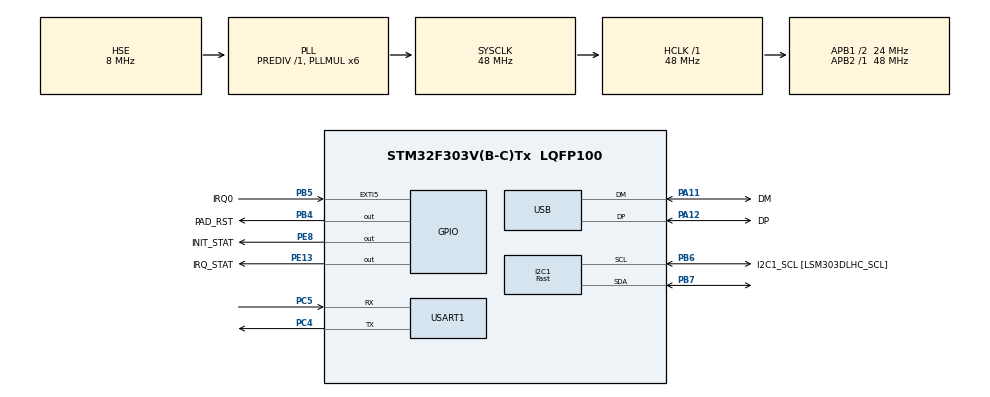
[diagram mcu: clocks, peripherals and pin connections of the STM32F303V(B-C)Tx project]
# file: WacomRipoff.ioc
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I2C1.I2C_Speed_Mode=I2C_Fast
I2C1.OwnAddress=127
I2C1.Timing=0x2010091A
Mcu.Family=STM32F3
Mcu.Name=STM32F303V(B-C)Tx
Mcu.Package=LQFP100
NVIC.EXTI9_5_IRQn=true\:0\:0\:false\:false\:true\:true\:true
NVIC.PriorityGroup=NVIC_PRIORITYGROUP_0
NVIC.USB_LP_CAN_RX0_IRQn=true\:0\:0\:false\:false\:true\:false\:true
PA11.GPIO_Label=DM
PA11.Mode=Device
PA11.Signal=USB_DM
PA12.GPIO_Label=DP
PA12.Mode=Device
PA12.Signal=USB_DP
PA13.GPIO_Label=SWDIO
PA13.Signal=SYS_JTMS-SWDIO
PA14.GPIO_Label=SWCLK
PA14.Signal=SYS_JTCK-SWCLK
PB3.GPIO_Label=SWO
PB3.Signal=SYS_JTDO-TRACESWO
PB4.GPIO_Label=PAD_RST
PB4.PinState=GPIO_PIN_SET
PB4.Signal=GPIO_Output
PB5.GPIO_Label=IRQ0
PB5.GPIO_ModeDefaultEXTI=GPIO_MODE_IT_FALLING
PB5.GPIO_PuPd=GPIO_PULLUP
PB5.Signal=GPXTI5
PB6.GPIO_FM6=__NULL
PB6.GPIO_Label=I2C1_SCL [LSM303DLHC_SCL]
PB6.GPIO_Mode=GPIO_MODE_AF_OD
PB6.GPIO_PuPd=GPIO_NOPULL
PB6.GPIO_Speed=GPIO_SPEED_FREQ_LOW
PB6.Mode=I2C
PB6.Signal=I2C1_SCL
PB7.Mode=I2C
PB7.Signal=I2C1_SDA
PC14-OSC32_IN.GPIO_Label=OSC32_IN
PC14-OSC32_IN.Signal=RCC_OSC32_IN
PC15-OSC32_OUT.GPIO_Label=OSC32_OUT
PC15-OSC32_OUT.Signal=RCC_OSC32_OUT
PC4.Mode=Asynchronous
PC4.Signal=USART1_TX
PC5.Mode=Asynchronous
PC5.Signal=USART1_RX
PE13.GPIO_Label=IRQ_STAT
PE13.GPIO_ModeDefaultOutputPP=GPIO_MODE_OUTPUT_PP
PE13.GPIO_PuPd=GPIO_NOPULL
PE13.GPIO_Speed=GPIO_SPEED_FREQ_LOW
PE13.Signal=GPIO_Output
PE8.GPIO_Label=INIT_STAT
PE8.GPIO_ModeDefaultOutputPP=GPIO_MODE_OUTPUT_PP
PE8.GPIO_PuPd=GPIO_NOPULL
PE8.GPIO_Speed=GPIO_SPEED_FREQ_LOW
PE8.Signal=GPIO_Output
PF0-OSC_IN.GPIO_Label=OSC_IN
PF0-OSC_IN.Mode=HSE-External-Clock-Source
PF0-OSC_IN.Signal=RCC_OSC_IN
PF1-OSC_OUT.GPIO_Label=OSC_OUT
PF1-OSC_OUT.Signal=RCC_OSC_OUT
ProjectManager.HeapSize=0x200
ProjectManager.StackSize=0x400
ProjectManager.TargetToolchain=STM32CubeIDE
RCC.AHBFreq_Value=48000000
RCC.APB1CLKDivider=RCC_HCLK_DIV2
RCC.APB1Freq_Value=24000000
RCC.APB1TimFreq_Value=48000000
RCC.APB2Freq_Value=48000000
RCC.APB2TimFreq_Value=48000000
RCC.CortexFreq_Value=48000000
RCC.HCLKFreq_Value=48000000
RCC.HSE_VALUE=8000000
RCC.HSI_VALUE=8000000
RCC.I2c1ClockSelection=RCC_I2C1CLKSOURCE_SYSCLK
RCC.LSE_VALUE=32768
RCC.PLLMUL=RCC_PLL_MUL6
RCC.SYSCLKFreq_VALUE=48000000
RCC.SYSCLKSourceVirtual=RCC_SYSCLKSOURCE_PLLCLK
RCC.USBFreq_Value=48000000
USART1.VirtualMode-Asynchronous=VM_ASYNC
USB_DEVICE.CLASS_NAME_FS=HID
USB_DEVICE.MANUFACTURER_STRING=TinLethax
USB_DEVICE.PID_HID_FS=26985
USB_DEVICE.PRODUCT_STRING_HID_FS=Wacom Rip off
USB_DEVICE.VID=1155
USB_DEVICE.VirtualMode=Hid
USB_DEVICE.VirtualModeFS=Hid_FS
VP_USB_DEVICE_VS_USB_DEVICE_HID_FS.Mode=HID_FS
board=STM32F3DISCOVERY

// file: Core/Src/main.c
/* USER CODE BEGIN Header */
/**
  ******************************************************************************
  * @file           : main.c
  * @brief          : Main program body
  ******************************************************************************
  * @attention
  *
  * <h2><center>&copy; Copyright (c) 2021 STMicroelectronics.
  * All rights reserved.</center></h2>
  *
  * This software component is licensed by ST under BSD 3-Clause license,
  * the "License"; You may not use this file except in compliance with the
  * License. You may obtain a copy of the License at:
  *                        opensource.org/licenses/BSD-3-Clause
  *
  ******************************************************************************
  */
/* USER CODE END Header */
#include "main.h"
#include "usb_device.h"

/* USER CODE BEGIN Includes */
#include "w9013.h"
#include <stdio.h>
/* USER CODE END Includes */

/* USER CODE BEGIN PTD */
struct wacom_i2c;
extern USBD_HandleTypeDef hUsbDeviceFS;
extern uint8_t USBD_HID_SendReport(USBD_HandleTypeDef *pdev, uint8_t *report, uint16_t len);
/* USER CODE END PTD */

/* USER CODE BEGIN PM */
#ifdef __GNUC__
  /* With GCC/RAISONANCE, small printf (option LD Linker->Libraries->Small printf
     set to 'Yes') calls __io_putchar() */
  #define PUTCHAR_PROTOTYPE int __io_putchar(int ch)
#else
  #define PUTCHAR_PROTOTYPE int fputc(int ch, FILE *f)
#endif /* __GNUC__ */

/* USER CODE END PM */

I2C_HandleTypeDef hi2c1;

UART_HandleTypeDef huart1;

/* USER CODE BEGIN PV */
uint8_t hid_report_null[8]={2,0,0xff,0xff,0xff,0xff,0,0};
/* USER CODE END PV */

void SystemClock_Config(void);
static void MX_GPIO_Init(void);
static void MX_I2C1_Init(void);
static void MX_USART1_UART_Init(void);

/* USER CODE BEGIN 0 */
/**
  * @brief  Retargets the C library printf function to the USART.
  * @param  None
  * @retval None
  */
PUTCHAR_PROTOTYPE
{
  /* Place your implementation of fputc here */
  /* e.g. write a character to the EVAL_COM1 and Loop until the end of transmission */
  HAL_UART_Transmit(&huart1, (uint8_t *)&ch, 1, 0xFFFF);

  return ch;
}
/* USER CODE END 0 */

int main(void)
{

  /* MCU Configuration--------------------------------------------------------*/

  /* Reset of all peripherals, Initializes the Flash interface and the Systick. */
  HAL_Init();

  /* Configure the system clock */
  SystemClock_Config();

  /* Initialize all configured peripherals */
  MX_GPIO_Init();
  MX_I2C1_Init();
  MX_USB_DEVICE_Init();
  MX_USART1_UART_Init();
  /* USER CODE BEGIN 2 */
  // Start chip probing ...
  printf("Start chip probing...\n");
  wacom_i2c_probe(&hi2c1, PAD_RST_GPIO_Port, PAD_RST_Pin, GPIOE, IRQ_STAT_Pin);
  printf("Done, Next reset the chip once\n");
  HAL_GPIO_WritePin(GPIOE, INIT_STAT_Pin, GPIO_PIN_SET);
  /* USER CODE END 2 */

  /* Infinite loop */
  while (1)
  {

    /* USER CODE BEGIN 3 */
	  //Wait for Interrupt
	  __WFI();
	  //USBD_HID_SendReport(&hUsbDeviceFS, hid_report_null, sizeof(hid_report_null));
	  //HAL_Delay(10);

  }
  /* USER CODE END 3 */
}

void SystemClock_Config(void)
{
  RCC_OscInitTypeDef RCC_OscInitStruct = {0};
  RCC_ClkInitTypeDef RCC_ClkInitStruct = {0};
  RCC_PeriphCLKInitTypeDef PeriphClkInit = {0};

  /** Initializes the RCC Oscillators according to the specified parameters
  * in the RCC_OscInitTypeDef structure.
  */
  RCC_OscInitStruct.OscillatorType = RCC_OSCILLATORTYPE_HSE;
  RCC_OscInitStruct.HSEState = RCC_HSE_BYPASS;
  RCC_OscInitStruct.HSEPredivValue = RCC_HSE_PREDIV_DIV1;
  RCC_OscInitStruct.HSIState = RCC_HSI_ON;
  RCC_OscInitStruct.PLL.PLLState = RCC_PLL_ON;
  RCC_OscInitStruct.PLL.PLLSource = RCC_PLLSOURCE_HSE;
  RCC_OscInitStruct.PLL.PLLMUL = RCC_PLL_MUL6;
  if (HAL_RCC_OscConfig(&RCC_OscInitStruct) != HAL_OK)
  {
    Error_Handler();
  }
  /** Initializes the CPU, AHB and APB buses clocks
  */
  RCC_ClkInitStruct.ClockType = RCC_CLOCKTYPE_HCLK|RCC_CLOCKTYPE_SYSCLK
                              |RCC_CLOCKTYPE_PCLK1|RCC_CLOCKTYPE_PCLK2;
  RCC_ClkInitStruct.SYSCLKSource = RCC_SYSCLKSOURCE_PLLCLK;
  RCC_ClkInitStruct.AHBCLKDivider = RCC_SYSCLK_DIV1;
  RCC_ClkInitStruct.APB1CLKDivider = RCC_HCLK_DIV2;
  RCC_ClkInitStruct.APB2CLKDivider = RCC_HCLK_DIV1;

  if (HAL_RCC_ClockConfig(&RCC_ClkInitStruct, FLASH_LATENCY_1) != HAL_OK)
  {
    Error_Handler();
  }
  PeriphClkInit.PeriphClockSelection = RCC_PERIPHCLK_USB|RCC_PERIPHCLK_USART1
                              |RCC_PERIPHCLK_I2C1;
  PeriphClkInit.Usart1ClockSelection = RCC_USART1CLKSOURCE_PCLK2;
  PeriphClkInit.I2c1ClockSelection = RCC_I2C1CLKSOURCE_SYSCLK;
  PeriphClkInit.USBClockSelection = RCC_USBCLKSOURCE_PLL;
  if (HAL_RCCEx_PeriphCLKConfig(&PeriphClkInit) != HAL_OK)
  {
    Error_Handler();
  }
}

static void MX_I2C1_Init(void)
{

  hi2c1.Instance = I2C1;
  hi2c1.Init.Timing = 0x2010091A;
  hi2c1.Init.OwnAddress1 = 254;
  hi2c1.Init.AddressingMode = I2C_ADDRESSINGMODE_7BIT;
  hi2c1.Init.DualAddressMode = I2C_DUALADDRESS_DISABLE;
  hi2c1.Init.OwnAddress2 = 0;
  hi2c1.Init.OwnAddress2Masks = I2C_OA2_NOMASK;
  hi2c1.Init.GeneralCallMode = I2C_GENERALCALL_DISABLE;
  hi2c1.Init.NoStretchMode = I2C_NOSTRETCH_DISABLE;
  if (HAL_I2C_Init(&hi2c1) != HAL_OK)
  {
    Error_Handler();
  }
  /** Configure Analogue filter
  */
  if (HAL_I2CEx_ConfigAnalogFilter(&hi2c1, I2C_ANALOGFILTER_ENABLE) != HAL_OK)
  {
    Error_Handler();
  }
  /** Configure Digital filter
  */
  if (HAL_I2CEx_ConfigDigitalFilter(&hi2c1, 0) != HAL_OK)
  {
    Error_Handler();
  }

}

static void MX_USART1_UART_Init(void)
{

  huart1.Instance = USART1;
  huart1.Init.BaudRate = 38400;
  huart1.Init.WordLength = UART_WORDLENGTH_8B;
  huart1.Init.StopBits = UART_STOPBITS_1;
  huart1.Init.Parity = UART_PARITY_NONE;
  huart1.Init.Mode = UART_MODE_TX_RX;
  huart1.Init.HwFlowCtl = UART_HWCONTROL_NONE;
  huart1.Init.OverSampling = UART_OVERSAMPLING_16;
  huart1.Init.OneBitSampling = UART_ONE_BIT_SAMPLE_DISABLE;
  huart1.AdvancedInit.AdvFeatureInit = UART_ADVFEATURE_NO_INIT;
  if (HAL_UART_Init(&huart1) != HAL_OK)
  {
    Error_Handler();
  }

}

static void MX_GPIO_Init(void)
{
  GPIO_InitTypeDef GPIO_InitStruct = {0};

  /* GPIO Ports Clock Enable */
  __HAL_RCC_GPIOC_CLK_ENABLE();
  __HAL_RCC_GPIOF_CLK_ENABLE();
  __HAL_RCC_GPIOE_CLK_ENABLE();
  __HAL_RCC_GPIOA_CLK_ENABLE();
  __HAL_RCC_GPIOB_CLK_ENABLE();

  /*Configure GPIO pin Output Level */
  HAL_GPIO_WritePin(GPIOE, INIT_STAT_Pin|IRQ_STAT_Pin, GPIO_PIN_RESET);

  /*Configure GPIO pin Output Level */
  HAL_GPIO_WritePin(PAD_RST_GPIO_Port, PAD_RST_Pin, GPIO_PIN_SET);

  /*Configure GPIO pins : INIT_STAT_Pin IRQ_STAT_Pin */
  GPIO_InitStruct.Pin = INIT_STAT_Pin|IRQ_STAT_Pin;
  GPIO_InitStruct.Mode = GPIO_MODE_OUTPUT_PP;
  GPIO_InitStruct.Pull = GPIO_NOPULL;
  GPIO_InitStruct.Speed = GPIO_SPEED_FREQ_LOW;
  HAL_GPIO_Init(GPIOE, &GPIO_InitStruct);

  /*Configure GPIO pin : PAD_RST_Pin */
  GPIO_InitStruct.Pin = PAD_RST_Pin;
  GPIO_InitStruct.Mode = GPIO_MODE_OUTPUT_PP;
  GPIO_InitStruct.Pull = GPIO_NOPULL;
  GPIO_InitStruct.Speed = GPIO_SPEED_FREQ_LOW;
  HAL_GPIO_Init(PAD_RST_GPIO_Port, &GPIO_InitStruct);

  /*Configure GPIO pin : IRQ0_Pin */
  GPIO_InitStruct.Pin = IRQ0_Pin;
  GPIO_InitStruct.Mode = GPIO_MODE_IT_FALLING;
  GPIO_InitStruct.Pull = GPIO_PULLUP;
  HAL_GPIO_Init(IRQ0_GPIO_Port, &GPIO_InitStruct);

  /* EXTI interrupt init*/
  HAL_NVIC_SetPriority(EXTI9_5_IRQn, 0, 0);
  HAL_NVIC_EnableIRQ(EXTI9_5_IRQn);

}

void Error_Handler(void)
{
  __disable_irq();
  while (1)
  {
  }
}

/************************ (C) COPYRIGHT STMicroelectronics *****END OF FILE****/
